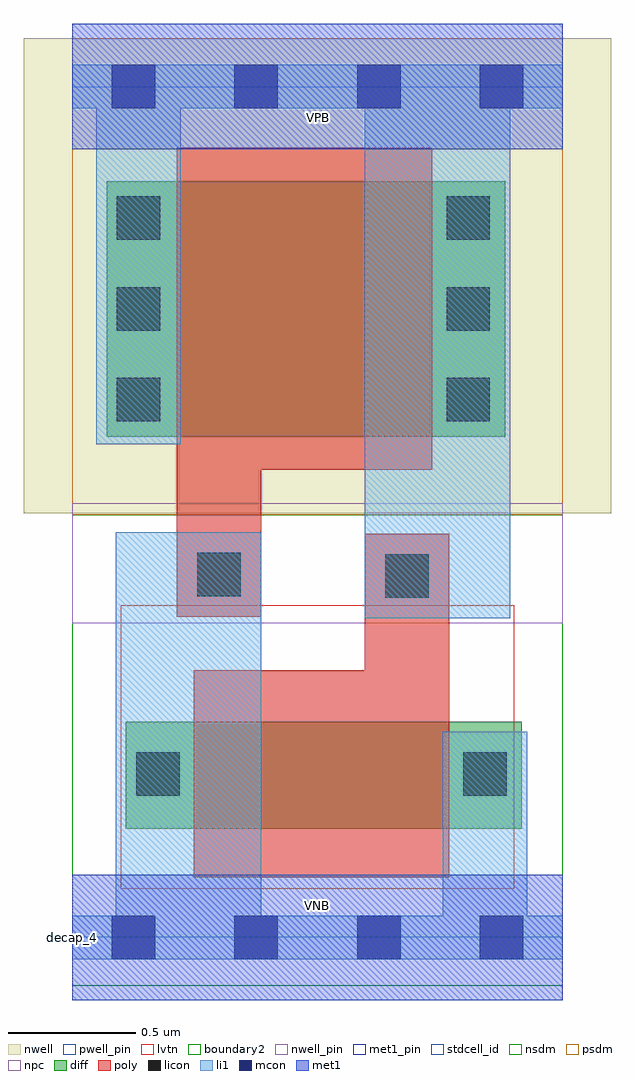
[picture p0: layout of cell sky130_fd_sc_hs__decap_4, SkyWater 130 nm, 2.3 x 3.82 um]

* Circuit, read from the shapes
.subckt sky130_fd_sc_hs__decap_4 VGND VNB VPB VPWR
XM1 VGND VPWR VGND VNB sky130_fd_pr__nfet_01v8_lvt w=0.42 l=1
XM2 VPWR VGND VPWR VPB sky130_fd_pr__pfet_01v8 w=1 l=1
.ends

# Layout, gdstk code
import gdstk
lib = gdstk.Library(unit=1e-6, precision=1e-09)
def R(c, l, rs):  # rectangles x0, y0, x1, y1
    for r in rs: c.add(gdstk.rectangle(r[:2], r[2:], *l))
def A(c, l, x, y, w, h, nx, ny, dx, dy):  # array of equal rectangles
    R(c, l, [(x+i*dx, y+j*dy, x+i*dx+w, y+j*dy+h) for i in range(nx) for j in range(ny)])
def P(c, l, *ps):  # polygons
    for p in ps: c.add(gdstk.Polygon(p, *l))
nwell_pin = (64, 16)
nwell = (64, 20)
diff = (65, 20)
poly = (66, 20)
licon = (66, 44)
li1 = (67, 20)
mcon = (67, 44)
met1_pin = (68, 16)
met1 = (68, 20)
stdcell_id = (81, 4)
nsdm = (93, 44)
psdm = (94, 20)
npc = (95, 20)
pwell_pin = (122, 16)
lvtn = (125, 44)
boundary2 = (236, 0)

sky130_fd_sc_hs__decap_4 = lib.new_cell('sky130_fd_sc_hs__decap_4')
R(sky130_fd_sc_hs__decap_4, nwell_pin, [(0,3.085,1.92,3.33)])
R(sky130_fd_sc_hs__decap_4, nwell, [(-0.19,1.66,2.11,3.52)])
R(sky130_fd_sc_hs__decap_4, diff, [(0.21,0.425,1.76,0.845), (0.135,1.96,1.695,2.96)])
P(sky130_fd_sc_hs__decap_4, poly, [(1.475,1.58),(1.145,1.58),(1.145,1.045),(0.475,1.045),(0.475,0.235),(1.475,0.235)],
  [(1.41,3.09),(0.41,3.09),(0.41,1.255),(0.74,1.255),(0.74,1.83),(1.41,1.83)])
A(sky130_fd_sc_hs__decap_4, licon, 0.175, 2.02, 0.17, 0.17, 1, 3, 0, 0.355)
A(sky130_fd_sc_hs__decap_4, licon, 1.465, 2.02, 0.17, 0.17, 1, 3, 0, 0.355)
R(sky130_fd_sc_hs__decap_4, licon, [(0.25,0.555,0.42,0.725), (1.53,0.555,1.7,0.725), (1.225,1.33,1.395,1.5), (0.49,1.335,0.66,1.505)])
P(sky130_fd_sc_hs__decap_4, li1, [(1.92,3.415),(0,3.415),(0,3.245),(0.095,3.245),(0.095,1.93),(0.425,1.93),(0.425,3.245),(1.145,3.245),(1.145,1.25),(1.715,1.25),(1.715,3.245),(1.92,3.245)],
  [(1.92,0.085),(1.78,0.085),(1.78,0.805),(1.45,0.805),(1.45,0.085),(0.74,0.085),(0.74,1.585),(0.17,1.585),(0.17,0.085),(0,0.085),(0,-0.085),(1.92,-0.085)])
A(sky130_fd_sc_hs__decap_4, mcon, 0.155, -0.085, 0.17, 0.17, 4, 2, 0.48, 3.33)
R(sky130_fd_sc_hs__decap_4, met1_pin, [(0,0,1.92,0.245), (0,3.085,1.92,3.33)])
R(sky130_fd_sc_hs__decap_4, met1, [(0,-0.245,1.92,0.245), (0,3.085,1.92,3.575)])
R(sky130_fd_sc_hs__decap_4, stdcell_id, [(0,0,1.92,3.33)])
R(sky130_fd_sc_hs__decap_4, nsdm, [(0,-0.19,1.92,1.655)])
R(sky130_fd_sc_hs__decap_4, psdm, [(0,1.655,1.92,3.52)])
R(sky130_fd_sc_hs__decap_4, npc, [(0,1.23,1.92,1.7)])
R(sky130_fd_sc_hs__decap_4, pwell_pin, [(0,0,1.92,0.245)])
R(sky130_fd_sc_hs__decap_4, lvtn, [(0.19,0.19,1.73,1.3)])
R(sky130_fd_sc_hs__decap_4, boundary2, [(0,0,1.92,3.33)])
sky130_fd_sc_hs__decap_4.add(gdstk.Label('decap_4', (0,0), layer=83, texttype=44))
sky130_fd_sc_hs__decap_4.add(gdstk.Label('VNB', (0.96,0.123), layer=64, texttype=59))
sky130_fd_sc_hs__decap_4.add(gdstk.Label('VPB', (0.965,3.208), layer=64, texttype=5))
sky130_fd_sc_hs__decap_4.add(gdstk.Label('VGND', (0.96,0.123), layer=68, texttype=5))
sky130_fd_sc_hs__decap_4.add(gdstk.Label('VPWR', (0.96,3.208), layer=68, texttype=5))

lib.write_gds('sky130_fd_sc_hs__decap_4.gds')
